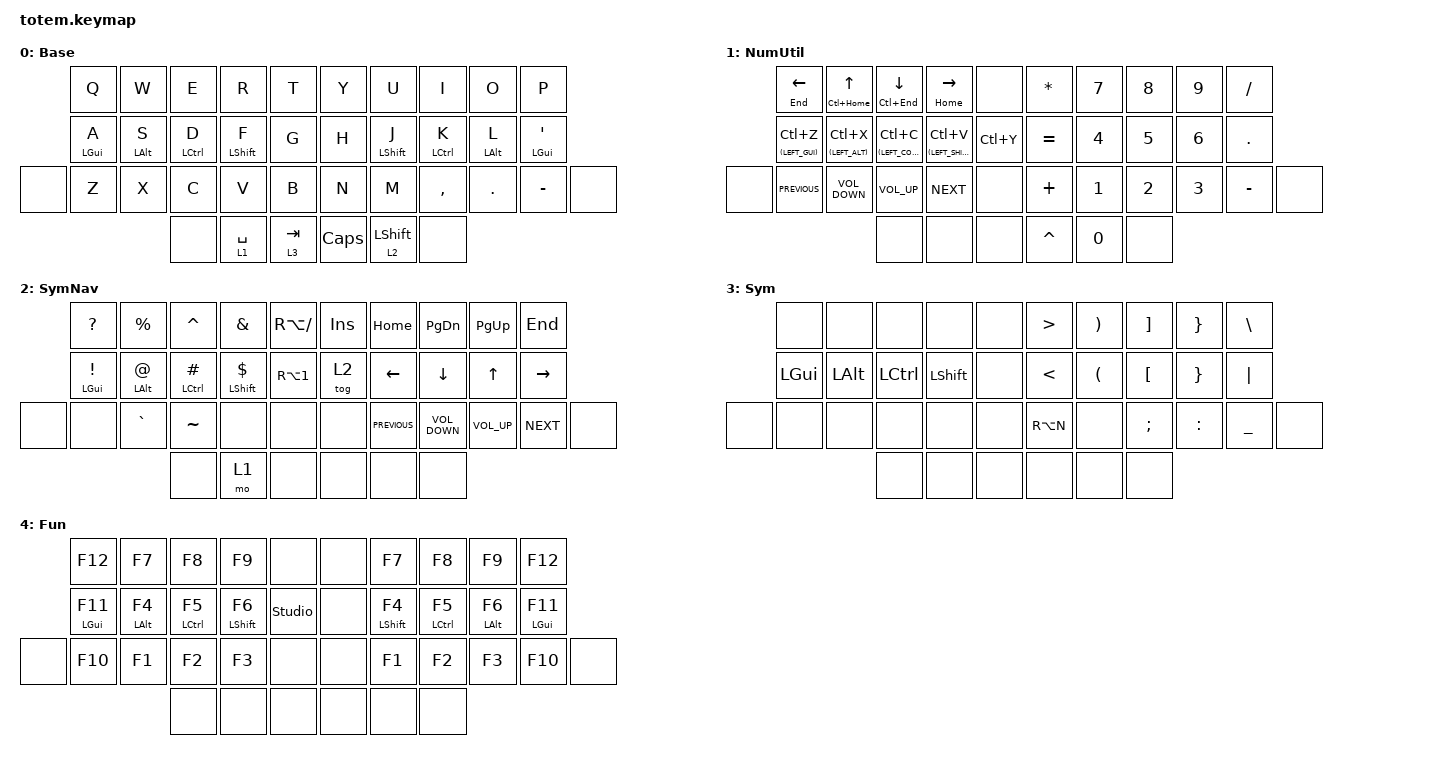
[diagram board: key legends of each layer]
//
//                                                        ▀▀▀▀▀     ▀▀▀▀▀          ▀▀█▀▀
//                                                        ▄▀▀▀▄  ▄  ▄▀▀▀▄  ▄  ▄▀▀▀▄  █  ▄▀▀▀▄
//                                                        █   █  █  █   █  █  █   █  █  █   █
//                                                         ▀▀▀   █   ▀▀▀   █   ▀▀▀   ▀   ▀▀▀
//                                                               █      ▄▄▄█▄▄▄    █   █  
//                                                               ▀      █  █  █     █▄█
//                                                             ▀▀▀▀▀    █  █  █      ▀
//                                                                      ▀  ▀  ▀
//
// ▄▄▄▄▄▄▄▄▄▄▄▄▄▄▄▄▄▄▄▄▄▄▄▄▄▄▄▄▄▄▄▄▄▄▄▄▄▄▄▄▄▄▄▄▄▄▄▄▄▄▄▄▄▄▄▄▄▄▄▄▄▄▄▄▄▄▄▄▄▄▄▄▄▄▄▄▄▄▄▄▄▄▄▄▄▄▄▄▄▄▄▄▄▄▄▄▄▄▄▄▄▄▄▄▄▄▄▄▄▄▄▄▄▄▄▄▄▄▄▄▄▄▄▄▄▄▄▄▄▄▄▄▄▄▄▄▄▄▄▄▄▄▄▄▄▄▄▄▄

#include <behaviors/num_word.dtsi>
#include <behaviors.dtsi>
#include <dt-bindings/zmk/keys.h>

#define BASE        0
#define SYMUTIL     1
#define SYMNAV      2
#define NUM         3
#define FUN         4
#define SAI         5

&sk {
    release-after-ms = <900>;
    quick-release;
    ignore-modifiers;
};

&sl { ignore-modifiers; };

&lt {
    tapping-term-ms = <175>;
    quick-tap-ms = <100>;
};

&mt {
    flavor = "tap-preferred";
    tapping-term-ms = <220>;
    quick-tap-ms = <220>;
    hold-trigger-key-positions = <20>;
};

/ {
    behaviors {
        hml: homerow_mods_left {
            compatible = "zmk,behavior-hold-tap";
            label = "HOMEROW_MODS_LEFT";
            #binding-cells = <2>;
            flavor = "balanced";
            tapping-term-ms = <280>;
            bindings = <&kp>, <&kp>;

            quick-tap-ms = <175>;
            require-prior-idle-ms = <175>;
            hold-trigger-on-release;
            hold-trigger-key-positions = <5 15 26 27 16 6 7 17 28 8 18 29 9 19 30 31 35 36 37 32 33 34>;
        };

        hml_und: homerow_mods_left_undecided {
            compatible = "zmk,behavior-hold-tap";
            label = "HOMEROW_MODS_LEFT_UNDECIDED";
            #binding-cells = <2>;
            flavor = "balanced";
            tapping-term-ms = <280>;
            bindings = <&kp>, <&kp>;

            quick-tap-ms = <175>;
            require-prior-idle-ms = <175>;
            hold-trigger-on-release;
            hold-trigger-key-positions = <5 15 26 27 16 6 7 17 28 8 18 29 9 19 30 31 35 36 37 32 33 34>;
            hold-while-undecided;
        };

        hmr: homerow_mods_right {
            compatible = "zmk,behavior-hold-tap";
            label = "HOMEROW_MODS_RIGHT";
            #binding-cells = <2>;
            flavor = "balanced";
            tapping-term-ms = <280>;
            bindings = <&kp>, <&kp>;

            quick-tap-ms = <175>;
            require-prior-idle-ms = <175>;
            hold-trigger-on-release;
            hold-trigger-key-positions = <0 1 2 3 4 10 11 12 13 14 21 22 23 24 25 32 33 20 34 35 36 37>;
        };

        sk_shift_td: sk_shift_td_cancel {
            compatible = "zmk,behavior-mod-morph";
            label = "SK_SHIFT_TD_CANCEL";
            bindings = <&sk LEFT_SHIFT>, <&kp K_CANCEL>;

            #binding-cells = <0>;
            mods = <(MOD_LSFT)>;
        };

        mo_sk_shift_td: mo_layer_sk_shift_td {
            compatible = "zmk,behavior-hold-tap";
            label = "MO_LAYER_SK_SHIFT_TD";
            bindings = <&mo>, <&sk_shift_td>;

            #binding-cells = <2>;
            flavor = "balanced";
            tapping-term-ms = <200>;
            quick-tap-ms = <175>;
        };

        // Explicit local definition so the Keymap Editor recognizes &num_word

        num_word: num_word {
            compatible = "zmk,behavior-auto-layer";
            #binding-cells = <1>;
            continue-list = <BSPC DEL DOT COMMA PLUS MINUS STAR FSLH EQUAL>;
            ignore-modifiers;
        };

        td_num_word: td_num_word {
            compatible = "zmk,behavior-tap-dance";
            label = "TD_NUM_WORD";
            #binding-cells = <0>;
            bindings = <&none>, <&num_word NUM>;

            tapping-term-ms = <220>;
        };

        mo_td_num: mo_td_num {
            compatible = "zmk,behavior-hold-tap";
            label = "MO_TD_NUM";
            bindings = <&mo>, <&td_num_word>;

            #binding-cells = <2>;
            flavor = "balanced";
            tapping-term-ms = <200>;
            quick-tap-ms = <175>;
        };

        mo_sk: mo_sk {
            compatible = "zmk,behavior-hold-tap";
            label = "MO_SK";
            bindings = <&mo>, <&sk>;

            #binding-cells = <2>;
            tapping-term-ms = <200>;
            quick-tap-ms = <175>;
            flavor = "balanced";
        };
    };

    combos {
        compatible = "zmk,combos";

        combo_backspace {
            bindings = <&kp BACKSPACE>;
            key-positions = <16 17>;
            layers = <0>;
            require-prior-idle-ms = <150>;
        };

        combo_escape {
            bindings = <&kp ESCAPE>;
            key-positions = <11 12>;
            require-prior-idle-ms = <150>;
            layers = <0>;
        };

        combo_delete {
            bindings = <&kp DELETE>;
            key-positions = <17 18>;
            require-prior-idle-ms = <150>;
            layers = <0>;
        };

        combo_delete_l {
            bindings = <&kp DELETE>;
            key-positions = <12 13>;
            require-prior-idle-ms = <150>;
            layers = <0>;
        };

        combo_return {
            bindings = <&kp RETURN>;
            key-positions = <16 17 18>;
            layers = <0>;
        };

        combo_return_l {
            bindings = <&kp RETURN>;
            key-positions = <11 12 13>;
            layers = <0>;
        };

        combo_pscrn {
            bindings = <&kp PRINTSCREEN>;
            key-positions = <12 11>;
            layers = <1>;
        };

        combo_pause_l {
            bindings = <&kp C_PAUSE>;
            key-positions = <12 13>;
            layers = <1>;
        };

        combo_pause_r {
            bindings = <&kp C_PAUSE>;
            key-positions = <16 17>;
            layers = <2>;
        };

        combo_mute_l {
            bindings = <&kp C_MUTE>;
            key-positions = <22 23>;
            layers = <1>;
        };

        combo_mute_r {
            bindings = <&kp C_MUTE>;
            key-positions = <28 29>;
            layers = <2>;
        };
    };

    keymap {
        compatible = "zmk,keymap";

        Base {
            label = "Base";
            bindings = <
       &kp Q            &kp W            &kp E                    &kp R                  &kp T        &kp Y         &kp U                &kp I                &kp O            &kp P
       &hml LEFT_GUI A  &hml LEFT_ALT S  &hml_und LEFT_CONTROL D  &hml_und LEFT_SHIFT F  &kp G        &kp H         &hmr LEFT_SHIFT J    &hmr LEFT_CONTROL K  &hmr LEFT_ALT L  &hmr LEFT_GUI SINGLE_QUOTE
&none  &kp Z            &kp X            &kp C                    &kp V                  &kp B        &kp N         &kp M                &kp COMMA            &kp DOT          &kp MINUS                   &none
                                         &none                    &lt 1 SPACE            &lt 3 TAB    &kp CAPSLOCK  &mo_sk 2 LEFT_SHIFT  &none
            >;
        };

        NumUtil {
            bindings = <
       &mt END LEFT_ARROW     &mt LC(HOME) UP_ARROW  &mt LC(END) DOWN_ARROW     &mt HOME RIGHT_ARROW     &none        &kp ASTERISK  &kp N7  &kp N8  &kp N9  &kp FSLH
       &hml (LEFT_GUI) LC(Z)  &hml (LEFT_ALT) LC(X)  &hml (LEFT_CONTROL) LC(C)  &hml (LEFT_SHIFT) LC(V)  &kp LC(Y)    &kp EQUAL     &kp N4  &kp N5  &kp N6  &kp DOT
&none  &kp C_PREVIOUS         &kp C_VOLUME_DOWN      &kp C_VOLUME_UP            &kp C_NEXT               &none        &kp PLUS      &kp N1  &kp N2  &kp N3  &kp MINUS  &none
                                                     &none                      &none                    &none        &kp CARET     &kp N0  &none
            >;

            label = "NumUtil";
        };

        SymNav {
            bindings = <
       &kp QUESTION        &kp PERCENT       &kp CARET               &kp AMPERSAND           &kp RA(SLASH)       &kp INSERT  &kp HOME        &kp PAGE_DOWN      &kp PAGE_UP      &kp END
       &hml LEFT_GUI EXCL  &hml LEFT_ALT AT  &hml LEFT_CONTROL HASH  &hml LEFT_SHIFT DOLLAR  &kp RA(NUMBER_1)    &tog 2      &kp LEFT_ARROW  &kp DOWN_ARROW     &kp UP_ARROW     &kp RIGHT_ARROW
&none  &none               &kp GRAVE         &kp TILDE               &none                   &none               &none       &kp C_PREVIOUS  &kp C_VOLUME_DOWN  &kp C_VOLUME_UP  &kp C_NEXT       &none
                                             &none                   &mo 1                   &none               &none       &none           &none
            >;

            label = "SymNav";
        };

        Sym {
            bindings = <
       &none         &none         &none             &none           &none    &kp GREATER_THAN  &kp RIGHT_PARENTHESIS  &kp RIGHT_BRACKET  &kp RIGHT_BRACE  &kp BACKSLASH
       &kp LEFT_GUI  &kp LEFT_ALT  &kp LEFT_CONTROL  &kp LEFT_SHIFT  &none    &kp LESS_THAN     &kp LEFT_PARENTHESIS   &kp LEFT_BRACKET   &kp RIGHT_BRACE  &kp PIPE
&none  &none         &none         &none             &none           &none    &kp RA(N)         &none                  &kp SEMICOLON      &kp COLON        &kp UNDERSCORE  &none
                                   &none             &none           &none    &none             &none                  &none
            >;

            label = "Sym";
        };

        Fun {
            bindings = <
       &kp F12            &kp F7            &kp F8                &kp F9              &none             &none  &kp F7              &kp F8                &kp F9            &kp F12
       &hml LEFT_GUI F11  &hml LEFT_ALT F4  &hml LEFT_CONTROL F5  &hml LEFT_SHIFT F6  &studio_unlock    &none  &hmr LEFT_SHIFT F4  &hmr LEFT_CONTROL F5  &hmr LEFT_ALT F6  &hmr LEFT_GUI F11
&none  &kp F10            &kp F1            &kp F2                &kp F3              &none             &none  &kp F1              &kp F2                &kp F3            &kp F10            &none
                                            &none                 &none               &none             &none  &none               &none
            >;

            label = "Fun";
        };
    };

    conditional_layers {
        compatible = "zmk,conditional-layers";

        num_sym {
            if-layers = <1 2>;
            then-layer = <4>;
        };
    };
};
